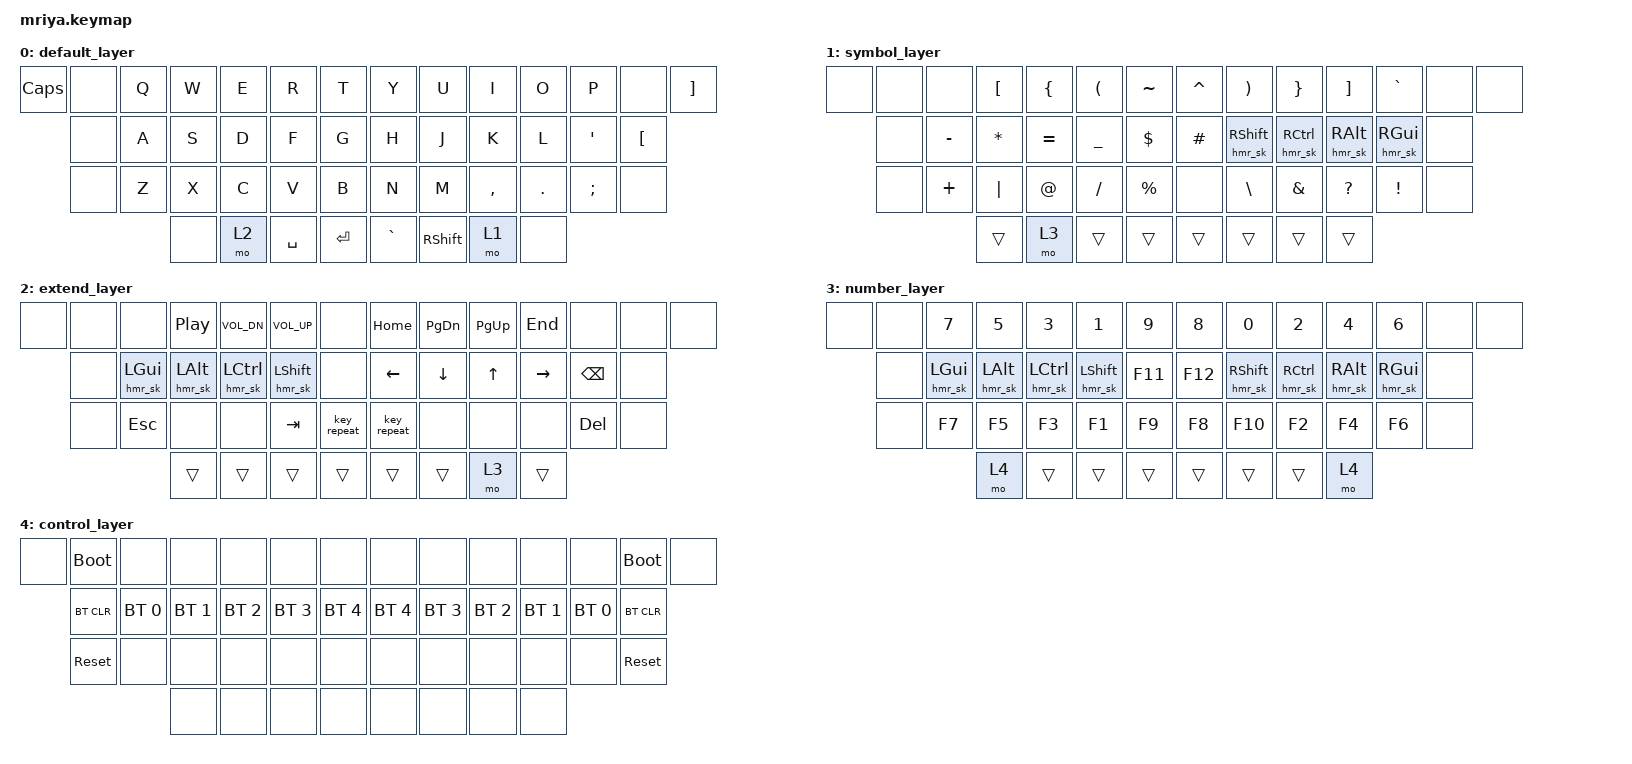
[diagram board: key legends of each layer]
/*
 * Copyright (c) 2023 Andrei Gaevskii
 *
 * SPDX-License-Identifier: MIT
 */

#include <behaviors.dtsi>
#include <dt-bindings/zmk/bt.h>
#include <dt-bindings/zmk/keys.h>

#define DEF 0
#define LWR 1
#define RSE 2
#define ADJ 3

&lt { quick_tap_ms = <200>; };

&mt { quick_tap_ms = <200>; };

/ {
    behaviors {
        hmr_sk: hmr_sk {
            compatible = "zmk,behavior-sticky-key";
            label = "HMR_SK";
            bindings = <&kp>;
            #binding-cells = <1>;
            ignore-modifiers;
            release-after-ms = <2000>;
        };
    };

    keymap {
        compatible = "zmk,keymap";

        default_layer {
            bindings = <
&kp CAPS  &none  &kp Q  &kp W  &kp E  &kp R      &kp T        &kp Y      &kp U            &kp I      &kp O    &kp P          &none             &kp RIGHT_BRACKET
          &none  &kp A  &kp S  &kp D  &kp F      &kp G        &kp H      &kp J            &kp K      &kp L    &kp SQT        &kp LEFT_BRACKET
          &none  &kp Z  &kp X  &kp C  &kp V      &kp B        &kp N      &kp M            &kp COMMA  &kp DOT  &kp SEMICOLON  &none
                        &none  &mo 2  &kp SPACE  &kp ENTER    &kp GRAVE  &kp RIGHT_SHIFT  &mo 1      &none
            >;
        };

        symbol_layer {
            bindings = <
&none  &none  &none      &kp LEFT_BRACKET  &kp LEFT_BRACE  &kp LEFT_PARENTHESIS  &kp TILDE    &kp CARET  &kp RIGHT_PARENTHESIS  &kp RIGHT_BRACE  &kp RIGHT_BRACKET  &kp GRAVE          &none  &none
       &none  &kp MINUS  &kp ASTERISK      &kp EQUAL       &kp UNDER             &kp DLLR     &kp HASH   &hmr_sk RIGHT_SHIFT    &hmr_sk RCTRL    &hmr_sk RIGHT_ALT  &hmr_sk RIGHT_GUI  &none
       &none  &kp PLUS   &kp PIPE          &kp AT          &kp SLASH             &kp PRCNT    &none      &kp BACKSLASH          &kp AMPS         &kp QMARK          &kp EXCL           &none
                         &trans            &mo 3           &trans                &trans       &trans     &trans                 &trans           &trans
            >;
        };

        extend_layer {
            bindings = <
&none  &none  &none             &kp C_PLAY_PAUSE  &kp C_VOL_DN          &kp C_VOL_UP        &none          &kp HOME        &kp PAGE_DOWN   &kp PG_UP     &kp END          &none          &none  &none
       &none  &hmr_sk LEFT_GUI  &hmr_sk LEFT_ALT  &hmr_sk LEFT_CONTROL  &hmr_sk LEFT_SHIFT  &none          &kp LEFT_ARROW  &kp DOWN_ARROW  &kp UP_ARROW  &kp RIGHT_ARROW  &kp BACKSPACE  &none
       &none  &kp ESCAPE        &none             &none                 &kp TAB             &key_repeat    &key_repeat     &none           &none         &none            &kp DELETE     &none
                                &trans            &trans                &trans              &trans         &trans          &trans          &mo 3         &trans
            >;
        };

        number_layer {
            bindings = <
&none  &none  &kp N7        &kp N5        &kp N3         &kp N1         &kp N9     &kp N8   &kp N0               &kp N2         &kp N4             &kp N6             &none  &none
       &none  &hmr_sk LGUI  &hmr_sk LALT  &hmr_sk LCTRL  &hmr_sk LSHFT  &kp F11    &kp F12  &hmr_sk RIGHT_SHIFT  &hmr_sk RCTRL  &hmr_sk RIGHT_ALT  &hmr_sk RIGHT_GUI  &none
       &none  &kp F7        &kp F5        &kp F3         &kp F1         &kp F9     &kp F8   &kp F10              &kp F2         &kp F4             &kp F6             &none
                            &mo 4         &trans         &trans         &trans     &trans   &trans               &trans         &mo 4
            >;
        };

        control_layer {
            bindings = <
&none  &bootloader  &none         &none         &none         &none         &none           &none         &none         &none         &none         &none         &bootloader  &none
       &bt BT_CLR   &bt BT_SEL 0  &bt BT_SEL 1  &bt BT_SEL 2  &bt BT_SEL 3  &bt BT_SEL 4    &bt BT_SEL 4  &bt BT_SEL 3  &bt BT_SEL 2  &bt BT_SEL 1  &bt BT_SEL 0  &bt BT_CLR
       &sys_reset   &none         &none         &none         &none         &none           &none         &none         &none         &none         &none         &sys_reset
                                  &none         &none         &none         &none           &none         &none         &none         &none
            >;
        };
    };
};
